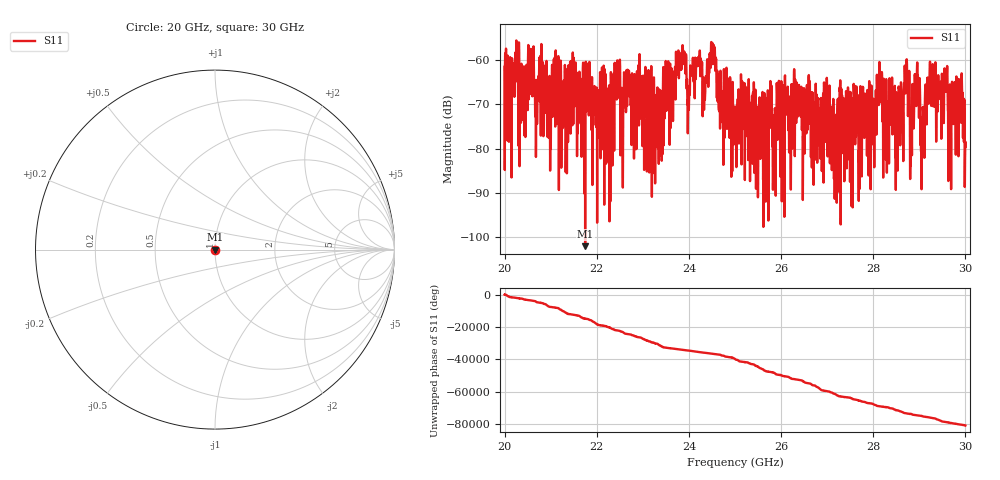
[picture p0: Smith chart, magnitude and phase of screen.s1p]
#  HZ  S  RI  R  50.00
! Rohde & Schwarz ZVA40 4Ports - Version 3.90 - 1145.1110k42 SN: 100403
! Date: 2023-10-03 10:56:22
! Measurement: S12
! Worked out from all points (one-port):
!   5001 points, 20 GHz to 30 GHz, reference 50 ohm
!   lowest |S11| = -102.0 dB at 21.75 GHz (marker M1), VSWR 1.00, Z = 50 - j0.00037 ohm
!   |S11| at or under -10 dB: start of sweep to end of sweep
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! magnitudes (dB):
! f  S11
! 20 GHz  -61.6
! 20.58 GHz  -61.4
! 20.69 GHz  -67.2
! 20.79 GHz  -77.1
! 20.97 GHz  -65.3
! 21.07 GHz  -60.4
! 21.25 GHz  -75.5
! 21.75 GHz  -102.0
! 22.25 GHz  -66.7
! 22.5 GHz  -60.4
! 23.39 GHz  -67.1
! 23.75 GHz  -60.2
! 24.34 GHz  -65.1
! 24.52 GHz  -59.9
! 24.69 GHz  -62.5
! 25 GHz  -71.8
! 26.25 GHz  -65.5
! 27.5 GHz  -72.5
! 28.15 GHz  -66.2
! 28.52 GHz  -79.1
! 28.75 GHz  -67.8
! 28.84 GHz  -74.0
! 28.97 GHz  -63.5
! 29.07 GHz  -77.1
! 29.25 GHz  -64.2
! 29.56 GHz  -66.8
! 29.91 GHz  -74.2
! 30 GHz  -79.6
